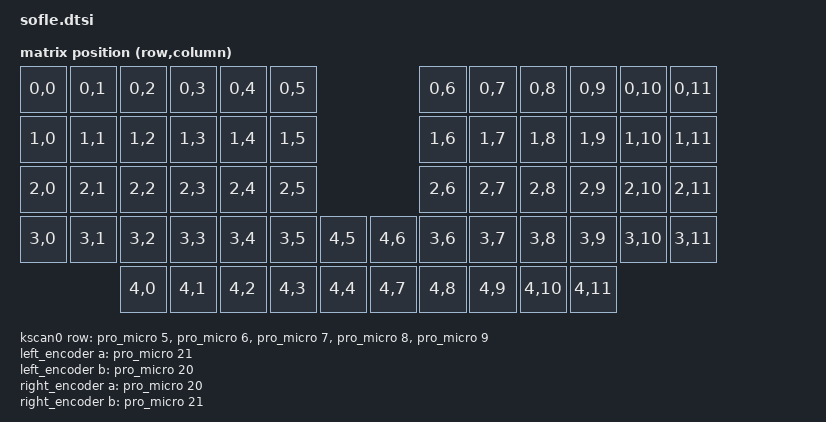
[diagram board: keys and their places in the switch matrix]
/*
 * Copyright (c) 2020 Pete Johanson, Ryan Cross
 *
 * SPDX-License-Identifier: MIT
 */

#include <dt-bindings/zmk/matrix_transform.h>

/ {
    chosen {
        zephyr,display = &oled;
        zmk,kscan = &kscan0;
        zmk,matrix-transform = &default_transform;
    };

    default_transform: keymap_transform_0 {
        compatible = "zmk,matrix-transform";
        columns = <16>;
        rows = <4>;
// | SW6  | SW5  | SW4  | SW3  | SW2  | SW1  |                 | SW1  | SW2  | SW3  | SW4  | SW5  | SW6  |
// | SW12 | SW11 | SW10 | SW9  | SW8  | SW7  |                 | SW7  | SW8  | SW9  | SW10 | SW11 | SW12 |
// | SW18 | SW17 | SW16 | SW15 | SW14 | SW13 |                 | SW13 | SW14 | SW15 | SW16 | SW17 | SW18 |
// | SW24 | SW23 | SW22 | SW21 | SW20 | SW19 | SW25 |   | SW25 | SW19 | SW20 | SW21 | SW22 | SW23 | SW24 |
//               | SW30 | SW29 | SW28 | SW27 | SW26 |   | SW26 | SW27 | SW28 | SW29 | SW30 |
        map = <
RC(0,0) RC(0,1) RC(0,2) RC(0,3) RC(0,4) RC(0,5)                 RC(0,6) RC(0,7) RC(0,8)  RC(0,9) RC(0,10) RC(0,11)
RC(1,0) RC(1,1) RC(1,2) RC(1,3) RC(1,4) RC(1,5)                 RC(1,6) RC(1,7) RC(1,8)  RC(1,9) RC(1,10) RC(1,11)
RC(2,0) RC(2,1) RC(2,2) RC(2,3) RC(2,4) RC(2,5)                 RC(2,6) RC(2,7) RC(2,8)  RC(2,9) RC(2,10) RC(2,11)
RC(3,0) RC(3,1) RC(3,2) RC(3,3) RC(3,4) RC(3,5) RC(4,5) RC(4,6) RC(3,6) RC(3,7) RC(3,8)  RC(3,9) RC(3,10) RC(3,11)
                RC(4,0) RC(4,1) RC(4,2) RC(4,3) RC(4,4) RC(4,7) RC(4,8) RC(4,9) RC(4,10) RC(4,11)
        >;
    };

    kscan0: kscan {
        compatible = "zmk,kscan-gpio-matrix";

        diode-direction = "col2row";
        row-gpios
            = <&pro_micro 5 (GPIO_ACTIVE_HIGH | GPIO_PULL_DOWN)>
            , <&pro_micro 6 (GPIO_ACTIVE_HIGH | GPIO_PULL_DOWN)>
            , <&pro_micro 7 (GPIO_ACTIVE_HIGH | GPIO_PULL_DOWN)>
            , <&pro_micro 8 (GPIO_ACTIVE_HIGH | GPIO_PULL_DOWN)>
            , <&pro_micro 9 (GPIO_ACTIVE_HIGH | GPIO_PULL_DOWN)>
            ;
    };

    left_encoder: encoder_left {
        compatible = "alps,ec11";
        a-gpios = <&pro_micro 21 (GPIO_ACTIVE_HIGH | GPIO_PULL_UP)>;
        b-gpios = <&pro_micro 20 (GPIO_ACTIVE_HIGH | GPIO_PULL_UP)>;
        steps = <80>;
        status = "disabled";
    };

    right_encoder: encoder_right {
        compatible = "alps,ec11";
        a-gpios = <&pro_micro 20 (GPIO_ACTIVE_HIGH | GPIO_PULL_UP)>;
        b-gpios = <&pro_micro 21 (GPIO_ACTIVE_HIGH | GPIO_PULL_UP)>;
        steps = <80>;
        status = "disabled";
    };

    sensors: sensors {
        compatible = "zmk,keymap-sensors";
        sensors = <&left_encoder &right_encoder>;
        triggers-per-rotation = <20>;
    };
};

&pro_micro_i2c {
    status = "okay";

    oled: ssd1306@3c {
        compatible = "solomon,ssd1306fb";
        reg = <0x3c>;
        width = <128>;
        height = <32>;
        segment-offset = <0>;
        page-offset = <0>;
        display-offset = <0>;
        multiplex-ratio = <31>;
        segment-remap;
        com-invdir;
        com-sequential;
        prechargep = <0x22>;
    };
};
